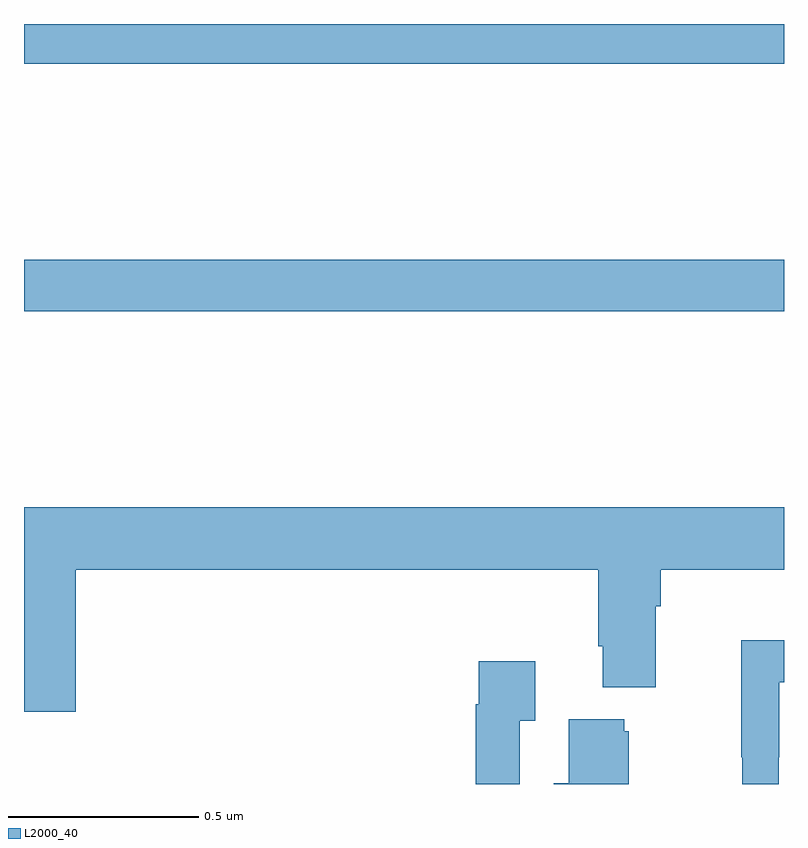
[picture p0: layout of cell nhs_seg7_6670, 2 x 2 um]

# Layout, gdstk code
import gdstk
lib = gdstk.Library(unit=1e-6, precision=1e-09)
def R(c, l, rs):  # rectangles x0, y0, x1, y1
    for r in rs: c.add(gdstk.rectangle(r[:2], r[2:], *l))
def P(c, l, *ps):  # polygons
    for p in ps: c.add(gdstk.Polygon(p, *l))
L2000_40 = (2000, 40)

nhs_seg7_6670 = lib.new_cell('nhs_seg7_6670')
R(nhs_seg7_6670, L2000_40, [(201,1053.244,203,1053.38), (201,1053.896,203,1054)])
P(nhs_seg7_6670, L2000_40, [(201.136,1052.564),(202.511,1052.564),(202.511,1052.362),(202.523,1052.362),(202.523,1052.255),(202.663,1052.255),(202.663,1052.468),(202.676,1052.468),(202.676,1052.564),(203,1052.564),(203,1052.728),(201,1052.728),(201,1052.19),(201.136,1052.19)],
  [(202.986,1052.071),(202.987,1052.071),(202.987,1052.268),(203,1052.268),(203,1052.378),(202.888,1052.378),(202.888,1052.071),(202.89,1052.071),(202.89,1052),(202.986,1052)],
  [(202.305,1052.167),(202.345,1052.167),(202.345,1052.323),(202.197,1052.323),(202.197,1052.21),(202.189,1052.21),(202.189,1052),(202.305,1052)],
  [(202.591,1052.139),(202.58,1052.139),(202.58,1052.17),(202.433,1052.17),(202.433,1052.002),(202.394,1052.002),(202.394,1052),(202.591,1052)])

lib.write_gds('nhs_seg7_6670.gds')
